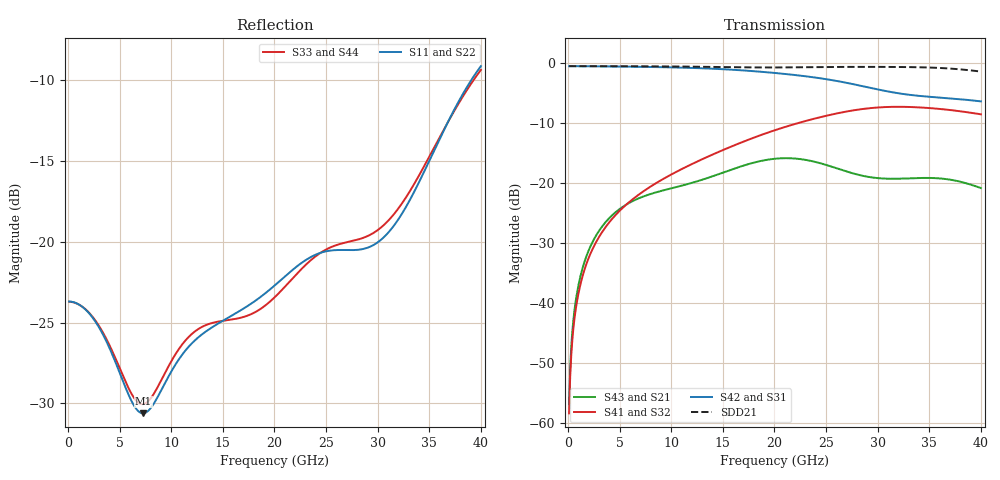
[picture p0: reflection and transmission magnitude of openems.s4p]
! E_s8_L1L8_p1000_round_g4: pair L1→L8, pitch 1 mm, two round antipads, 4 GND vias
! stackup: 8-layer 1.6 mm FR-4 (generic)
! ports: 1 P near, 2 N near, 3 P far, 4 N far
! openEMS 0.37.0, staircase, fine mesh (dfine 0.0175 mm), 1705200 cells
# Hz S RI R 50
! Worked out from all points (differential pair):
!   400 points, 100 MHz to 40 GHz, reference 50 ohm
!   strongest paths, dB at 100 MHz, 10.1 GHz, 20.1 GHz, 30.1 GHz, 40 GHz:
!     S42: -0.6, -0.8, -1.7, -4.5, -6.4
!     S31: -0.6, -0.8, -1.7, -4.5, -6.4
!     S41: -58.3, -18.5, -11.2, -7.5, -8.6
!     S32: -58.3, -18.5, -11.2, -7.5, -8.6
!     S43: -56.9, -20.9, -16.0, -19.2, -20.9
!     S21: -56.9, -20.9, -16.0, -19.2, -20.9
!   taken as a pair (ports 2,1 in; 4,3 out), SDD21 dB: -0.6, -0.6, -0.8, -0.7, -1.5
!   lowest |S11| = -30.6 dB at 7.3 GHz (marker M1), VSWR 1.06, Z = 48.8 + j2.64 ohm
!   |S11| at or under -10 dB: start of sweep to 39.05 GHz
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1e8  -0.0654 0.00172  0.000302 0.0014  0.9337 -0.0358  0.000121 -0.00121
     0.000302 0.0014  -0.0654 0.00172  0.000121 -0.00121  0.9337 -0.0358
     0.9337 -0.0358  0.000121 -0.00121  -0.0653 0.00174  0.000302 0.0014
     0.000121 -0.00121  0.9337 -0.0358  0.000302 0.0014  -0.0653 0.00174
7.3e9  -0.0117 0.0271  0.0221 -0.0739  -0.8667 -0.3151  -0.0234 0.0818
       0.0221 -0.0739  -0.0117 0.0271  -0.0234 0.0818  -0.8667 -0.3151
       -0.8667 -0.3151  -0.0234 0.0818  -0.0116 0.0292  0.0225 -0.0738
       -0.0234 0.0818  -0.8667 -0.3151  0.0225 -0.0738  -0.0116 0.0292
1.19e10  0.0227 0.0425  -0.0991 -0.00875  -0.1345 0.8941  0.1417 0.01
         -0.0991 -0.00875  0.0227 0.0425  0.1417 0.01  -0.1345 0.8941
         -0.1345 0.8941  0.1417 0.00999  0.0227 0.0463  -0.099 -0.00949
         0.1417 0.00999  -0.1345 0.8941  -0.099 -0.00949  0.0227 0.0463
1.62e10  0.0491 -0.0345  0.000945 0.1321  0.8693 0.0443  -0.0117 -0.2067
         0.000945 0.1321  0.0491 -0.0345  -0.0117 -0.2067  0.8693 0.0443
         0.8689 0.044  -0.0117 -0.2066  0.0499 -0.0291  -0.0004 0.1322
         -0.0117 -0.2066  0.8689 0.044  -0.0004 0.1322  0.0499 -0.0291
2.37e10  -0.0892 -0.0146  0.00489 -0.1509  -0.7313 -0.1965  0.014 0.3391
         0.00489 -0.1509  -0.0892 -0.0146  0.014 0.3391  -0.7313 -0.1965
         -0.7307 -0.1969  0.0137 0.3388  -0.0884 -0.00865  0.00697 -0.151
         0.0137 0.3388  -0.7307 -0.1969  0.00697 -0.151  -0.0884 -0.00865
3.22e10  0.0564 0.1061  0.0441 0.099  0.5434 0.1021  -0.264 -0.3385
         0.0441 0.099  0.0564 0.1061  -0.264 -0.3385  0.5434 0.1021
         0.5434 0.1019  -0.2641 -0.3383  0.0556 0.117  0.0421 0.0999
         -0.2641 -0.3383  0.5434 0.1019  0.0421 0.0999  0.0556 0.117
4e10  0.0687 -0.3434  -0.0739 -0.0514  -0.4383 -0.1935  0.3002 0.223
      -0.0739 -0.0514  0.0687 -0.3434  0.3002 0.223  -0.4383 -0.1935
      -0.4358 -0.192  0.2985 0.2214  0.0796 -0.3316  -0.073 -0.0536
      0.2985 0.2214  -0.4358 -0.192  -0.073 -0.0536  0.0796 -0.3316
